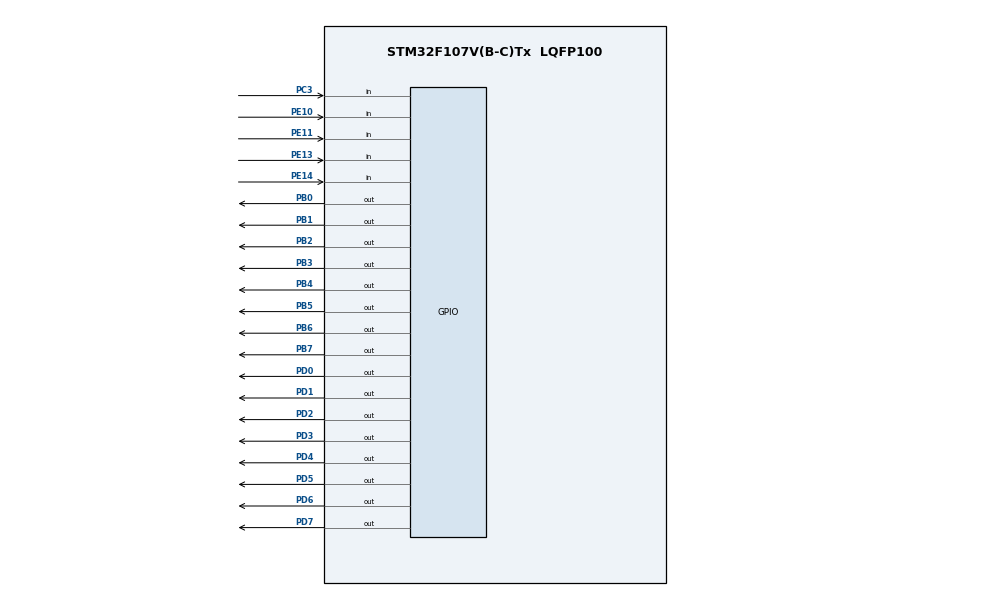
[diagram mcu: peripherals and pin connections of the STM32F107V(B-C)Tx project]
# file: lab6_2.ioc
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Mcu.Family=STM32F1
Mcu.Name=STM32F107V(B-C)Tx
Mcu.Package=LQFP100
NVIC.PriorityGroup=NVIC_PRIORITYGROUP_4
PB0.Signal=GPIO_Output
PB1.Signal=GPIO_Output
PB2.Signal=GPIO_Output
PB3.Signal=GPIO_Output
PB4.Signal=GPIO_Output
PB5.Signal=GPIO_Output
PB6.Signal=GPIO_Output
PB7.Signal=GPIO_Output
PC3.GPIO_PuPd=GPIO_PULLDOWN
PC3.Signal=GPIO_Input
PD0.Signal=GPIO_Output
PD1.Signal=GPIO_Output
PD2.Signal=GPIO_Output
PD3.Signal=GPIO_Output
PD4.Signal=GPIO_Output
PD5.Signal=GPIO_Output
PD6.Signal=GPIO_Output
PD7.Signal=GPIO_Output
PE10.GPIO_PuPd=GPIO_PULLDOWN
PE10.Signal=GPIO_Input
PE11.GPIO_PuPd=GPIO_PULLDOWN
PE11.Signal=GPIO_Input
PE13.GPIO_PuPd=GPIO_PULLDOWN
PE13.Signal=GPIO_Input
PE14.GPIO_PuPd=GPIO_PULLDOWN
PE14.Signal=GPIO_Input
ProjectManager.HeapSize=0x200
ProjectManager.StackSize=0x400
ProjectManager.TargetToolchain=STM32CubeIDE
RCC.USBFreq_Value=10666666.666666666
VP_SYS_VS_ND.Mode=No_Debug
board=custom

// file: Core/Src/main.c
/* USER CODE BEGIN Header */
/**
  ******************************************************************************
  * @file           : main.c
  * @brief          : Main program body
  ******************************************************************************
  * @attention
  *
  * <h2><center>&copy; Copyright (c) 2020 STMicroelectronics.
  * All rights reserved.</center></h2>
  *
  * This software component is licensed by ST under BSD 3-Clause license,
  * the "License"; You may not use this file except in compliance with the
  * License. You may obtain a copy of the License at:
  *                        opensource.org/licenses/BSD-3-Clause
  *
  ******************************************************************************
  */
/* USER CODE END Header */

#include "main.h"

void SystemClock_Config(void);
static void MX_GPIO_Init(void);

int main(void)
{

  /* MCU Configuration--------------------------------------------------------*/

  /* Reset of all peripherals, Initializes the Flash interface and the Systick. */
  HAL_Init();

  /* Configure the system clock */
  SystemClock_Config();

  /* Initialize all configured peripherals */
  MX_GPIO_Init();
  /* USER CODE BEGIN 2 */

  uint8_t n1 = 0;
  uint8_t sum;

  /* USER CODE END 2 */

  /* Infinite loop */
  while (1)
  {

    /* USER CODE BEGIN 3 */

	  if (HAL_GPIO_ReadPin(GPIOE, GPIO_PIN_11))
	  {
		  if((n1%16) != 9) {

		  n1++;
		   }
	  } else if (HAL_GPIO_ReadPin(GPIOE, GPIO_PIN_10))
	  {
		   if ((n1%16) > 0) {
		  n1--;
		  }
	  }else if (HAL_GPIO_ReadPin(GPIOE, GPIO_PIN_14))
	  {
		  if (n1 < (9*16)) {
			  n1 +=16;
		  }
	  }else if (HAL_GPIO_ReadPin(GPIOE, GPIO_PIN_13))
	  {
		  if(n1 > 15) {
			  n1 -=16;
		  }
	  }

	  if (HAL_GPIO_ReadPin(GPIOC, GPIO_PIN_3)) {
		  sum = ((n1%16) + ((n1-(n1%16))/16));
	  }

	  GPIOD->ODR = n1;
	  GPIOB->ODR = sum;
	  HAL_Delay(200);

// n3 = n1 + ((n2-(n2%16))/16);

	 // n3 %= 20;

	  	  //HAL_GPIO_WritePin(GPIOD, GPIO_PIN_0 | GPIO_PIN_1 | GPIO_PIN_2 | GPIO_PIN_3, n1);
//	  if (HAL_GPIO_ReadPin(GPIOC, GPIO_PIN_6)) {
//		  GPIOB->ODR = n3;
//	  }
//	  HAL_Delay(200);

	  /*uint8_t button;
	  button = HAL_GPIO_ReadPin(GPIOC, GPIO_PIN_11);
	  HAL_GPIO_WritePin(GPIOB, GPIO_PIN_0, GPIO_PIN_SET);
	  HAL_GPIO_WritePin(GPIOB, GPIO_PIN_1, GPIO_PIN_SET);
	  HAL_GPIO_WritePin(GPIOB, GPIO_PIN_2, GPIO_PIN_SET);
	  HAL_GPIO_WritePin(GPIOB, GPIO_PIN_3, GPIO_PIN_SET);
	  HAL_GPIO_WritePin(GPIOB, GPIO_PIN_4, GPIO_PIN_SET);
	  HAL_GPIO_WritePin(GPIOB, GPIO_PIN_5, GPIO_PIN_SET);
	  HAL_GPIO_WritePin(GPIOB, GPIO_PIN_6, GPIO_PIN_SET);
	  HAL_GPIO_WritePin(GPIOB, GPIO_PIN_7, GPIO_PIN_SET);

	  HAL_Delay(200); */

  }
  /* USER CODE END 3 */
}

void SystemClock_Config(void)
{
  RCC_OscInitTypeDef RCC_OscInitStruct = {0};
  RCC_ClkInitTypeDef RCC_ClkInitStruct = {0};

  /** Initializes the CPU, AHB and APB busses clocks
  */
  RCC_OscInitStruct.OscillatorType = RCC_OSCILLATORTYPE_HSI;
  RCC_OscInitStruct.HSIState = RCC_HSI_ON;
  RCC_OscInitStruct.HSICalibrationValue = RCC_HSICALIBRATION_DEFAULT;
  RCC_OscInitStruct.PLL.PLLState = RCC_PLL_NONE;
  RCC_OscInitStruct.PLL2.PLL2State = RCC_PLL_NONE;
  if (HAL_RCC_OscConfig(&RCC_OscInitStruct) != HAL_OK)
  {
    Error_Handler();
  }
  /** Initializes the CPU, AHB and APB busses clocks
  */
  RCC_ClkInitStruct.ClockType = RCC_CLOCKTYPE_HCLK|RCC_CLOCKTYPE_SYSCLK
                              |RCC_CLOCKTYPE_PCLK1|RCC_CLOCKTYPE_PCLK2;
  RCC_ClkInitStruct.SYSCLKSource = RCC_SYSCLKSOURCE_HSI;
  RCC_ClkInitStruct.AHBCLKDivider = RCC_SYSCLK_DIV1;
  RCC_ClkInitStruct.APB1CLKDivider = RCC_HCLK_DIV1;
  RCC_ClkInitStruct.APB2CLKDivider = RCC_HCLK_DIV1;

  if (HAL_RCC_ClockConfig(&RCC_ClkInitStruct, FLASH_LATENCY_0) != HAL_OK)
  {
    Error_Handler();
  }
  /** Configure the Systick interrupt time
  */
  __HAL_RCC_PLLI2S_ENABLE();
}

static void MX_GPIO_Init(void)
{
  GPIO_InitTypeDef GPIO_InitStruct = {0};

  /* GPIO Ports Clock Enable */
  __HAL_RCC_GPIOC_CLK_ENABLE();
  __HAL_RCC_GPIOB_CLK_ENABLE();
  __HAL_RCC_GPIOE_CLK_ENABLE();
  __HAL_RCC_GPIOD_CLK_ENABLE();

  /*Configure GPIO pin Output Level */
  HAL_GPIO_WritePin(GPIOB, GPIO_PIN_0|GPIO_PIN_1|GPIO_PIN_2|GPIO_PIN_3
                          |GPIO_PIN_4|GPIO_PIN_5|GPIO_PIN_6|GPIO_PIN_7, GPIO_PIN_RESET);

  /*Configure GPIO pin Output Level */
  HAL_GPIO_WritePin(GPIOD, GPIO_PIN_0|GPIO_PIN_1|GPIO_PIN_2|GPIO_PIN_3
                          |GPIO_PIN_4|GPIO_PIN_5|GPIO_PIN_6|GPIO_PIN_7, GPIO_PIN_RESET);

  /*Configure GPIO pin : PC3 */
  GPIO_InitStruct.Pin = GPIO_PIN_3;
  GPIO_InitStruct.Mode = GPIO_MODE_INPUT;
  GPIO_InitStruct.Pull = GPIO_PULLDOWN;
  HAL_GPIO_Init(GPIOC, &GPIO_InitStruct);

  /*Configure GPIO pins : PB0 PB1 PB2 PB3
                           PB4 PB5 PB6 PB7 */
  GPIO_InitStruct.Pin = GPIO_PIN_0|GPIO_PIN_1|GPIO_PIN_2|GPIO_PIN_3
                          |GPIO_PIN_4|GPIO_PIN_5|GPIO_PIN_6|GPIO_PIN_7;
  GPIO_InitStruct.Mode = GPIO_MODE_OUTPUT_PP;
  GPIO_InitStruct.Pull = GPIO_NOPULL;
  GPIO_InitStruct.Speed = GPIO_SPEED_FREQ_LOW;
  HAL_GPIO_Init(GPIOB, &GPIO_InitStruct);

  /*Configure GPIO pins : PE10 PE11 PE13 PE14 */
  GPIO_InitStruct.Pin = GPIO_PIN_10|GPIO_PIN_11|GPIO_PIN_13|GPIO_PIN_14;
  GPIO_InitStruct.Mode = GPIO_MODE_INPUT;
  GPIO_InitStruct.Pull = GPIO_PULLDOWN;
  HAL_GPIO_Init(GPIOE, &GPIO_InitStruct);

  /*Configure GPIO pins : PD0 PD1 PD2 PD3
                           PD4 PD5 PD6 PD7 */
  GPIO_InitStruct.Pin = GPIO_PIN_0|GPIO_PIN_1|GPIO_PIN_2|GPIO_PIN_3
                          |GPIO_PIN_4|GPIO_PIN_5|GPIO_PIN_6|GPIO_PIN_7;
  GPIO_InitStruct.Mode = GPIO_MODE_OUTPUT_PP;
  GPIO_InitStruct.Pull = GPIO_NOPULL;
  GPIO_InitStruct.Speed = GPIO_SPEED_FREQ_LOW;
  HAL_GPIO_Init(GPIOD, &GPIO_InitStruct);

}

void Error_Handler(void)
{
}

/************************ (C) COPYRIGHT STMicroelectronics *****END OF FILE****/
